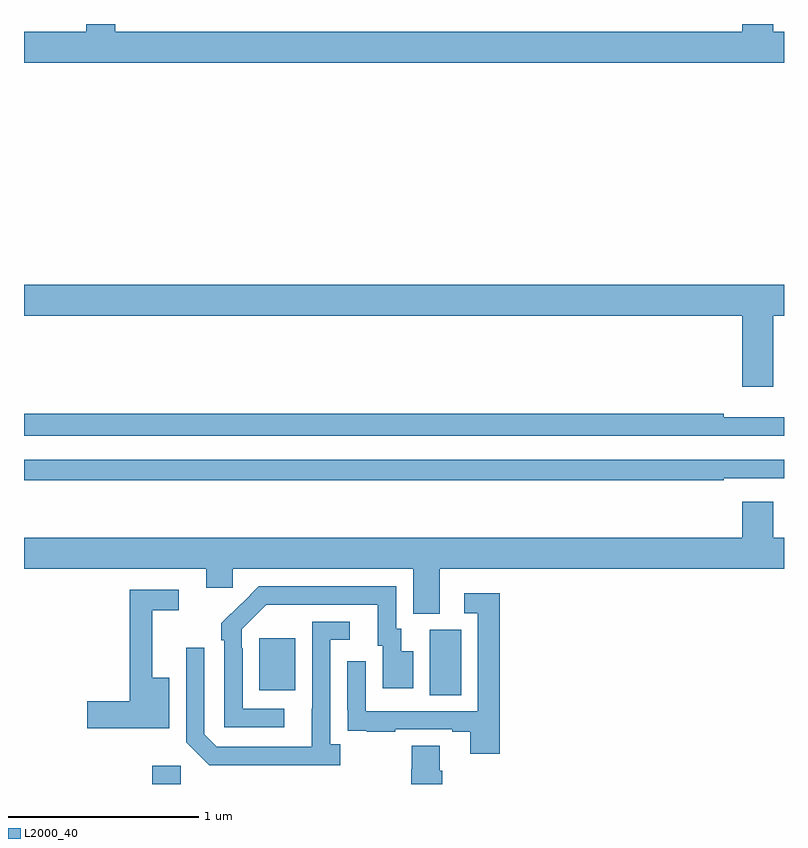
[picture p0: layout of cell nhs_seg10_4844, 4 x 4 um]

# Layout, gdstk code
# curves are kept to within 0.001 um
import gdstk
lib = gdstk.Library(unit=1e-6, precision=1e-09)
def R(c, l, rs):  # rectangles x0, y0, x1, y1
    for r in rs: c.add(gdstk.rectangle(r[:2], r[2:], *l))
def P(c, l, *ps):  # polygons
    for p in ps: c.add(gdstk.Polygon(p, *l))
L2000_40 = (2000, 40)

nhs_seg10_4844 = lib.new_cell('nhs_seg10_4844')
R(nhs_seg10_4844, L2000_40, [(389.675,1316.5,389.826,1316.596), (391.136,1316.968,391.3,1317.312), (390.239,1316.993,390.427,1317.268)])
P(nhs_seg10_4844, L2000_40, [(393,1320.46),(392.944,1320.46),(392.944,1320.5),(392.78,1320.5),(392.78,1320.46),(389.48,1320.46),(389.48,1320.5),(389.327,1320.5),(389.327,1320.46),(389,1320.46),(389,1320.296),(393,1320.296)],
  [(392.944,1318.964),(393,1318.964),(393,1319.128),(389,1319.128),(389,1318.964),(392.78,1318.964),(392.78,1318.59),(392.944,1318.59)],
  [(393,1318.429),(392.684,1318.429),(392.684,1318.448),(389,1318.448),(389,1318.332),(393,1318.332)],
  [(392.684,1318.11),(393,1318.11),(393,1318.206),(389,1318.206),(389,1318.098),(392.684,1318.098)],
  [(391.189,1317.632),(393,1317.632),(393,1317.796),(392.944,1317.796),(392.944,1317.985),(392.78,1317.985),(392.78,1317.796),(389,1317.796),(389,1317.632),(389.96,1317.632),(389.96,1317.534),(390.099,1317.534),(390.099,1317.632),(391.049,1317.632),(391.049,1317.397),(391.189,1317.397)],
  [(390.37,1316.895),(390.15,1316.895),(390.15,1317.215),(390.147,1317.215),(390.147,1317.315),(390.276,1317.444),(390.863,1317.444),(390.863,1317.228),(390.887,1317.228),(390.887,1317.003),(391.048,1317.003),(391.048,1317.199),(390.985,1317.199),(390.985,1317.318),(390.96,1317.318),(390.96,1317.54),(390.236,1317.54),(390.039,1317.345),(390.039,1317.257),(390.054,1317.257),(390.054,1316.799),(390.37,1316.799)],
  [(389.764,1317.058),(389.675,1317.058),(389.675,1317.414),(389.815,1317.414),(389.815,1317.522),(389.557,1317.522),(389.557,1316.936),(389.334,1316.936),(389.334,1316.794),(389.764,1316.794)],
  [(391.505,1317.505),(391.317,1317.505),(391.317,1317.399),(391.389,1317.399),(391.389,1316.883),(390.798,1316.883),(390.798,1317.145),(390.702,1317.145),(390.702,1316.89),(390.703,1316.89),(390.703,1316.781),(390.805,1316.781),(390.805,1316.775),(390.953,1316.775),(390.953,1316.787),(391.253,1316.787),(391.253,1316.775),(391.349,1316.775),(391.349,1316.658),(391.505,1316.658)],
  [(390.664,1316.71),(390.612,1316.71),(390.612,1317.258),(390.715,1317.258),(390.715,1317.354),(390.516,1317.354),(390.515,1316.697),(390.015,1316.697),(389.949,1316.763),(389.949,1317.217),(389.853,1317.217),(389.853,1316.721),(389.974,1316.6),(390.664,1316.6)],
  [(391.202,1316.57),(391.189,1316.57),(391.189,1316.702),(391.042,1316.702),(391.042,1316.577),(391.037,1316.577),(391.037,1316.5),(391.202,1316.5)])

lib.write_gds('nhs_seg10_4844.gds')
